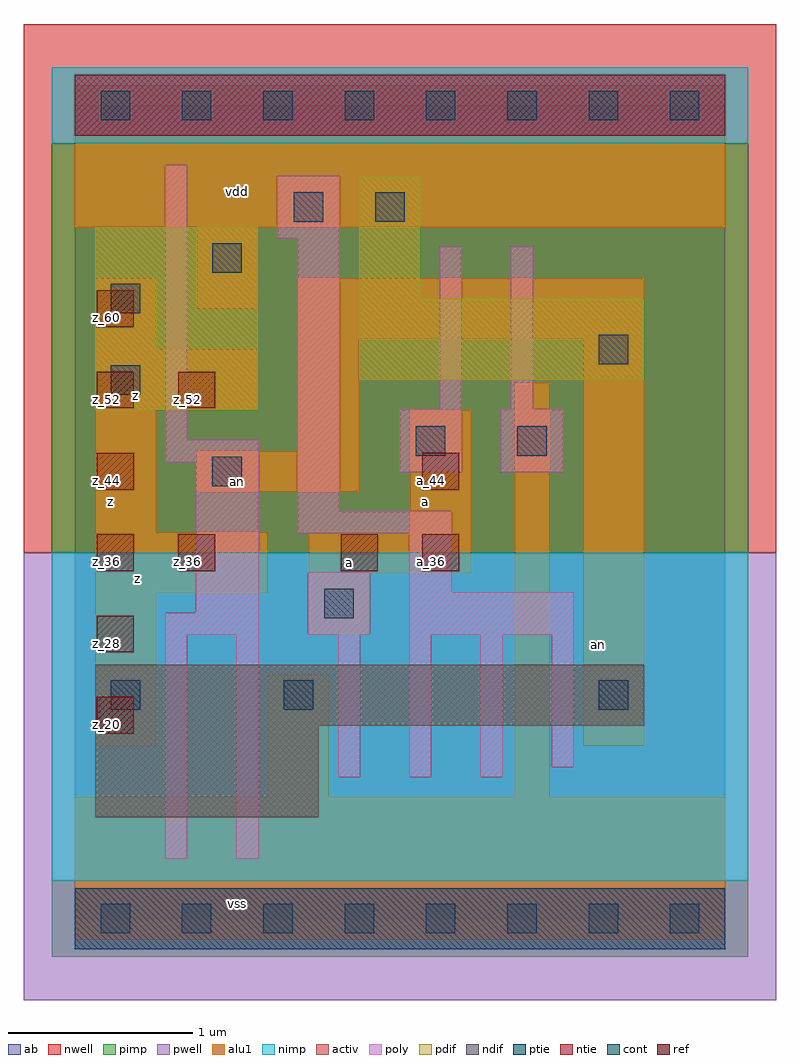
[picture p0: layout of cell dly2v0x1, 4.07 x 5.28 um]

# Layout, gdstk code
import gdstk
lib = gdstk.Library(unit=1e-6, precision=2.5e-09)
def R(c, l, rs):  # rectangles x0, y0, x1, y1
    for r in rs: c.add(gdstk.rectangle(r[:2], r[2:], *l))
def A(c, l, x, y, w, h, nx, ny, dx, dy):  # array of equal rectangles
    R(c, l, [(x+i*dx, y+j*dy, x+i*dx+w, y+j*dy+h) for i in range(nx) for j in range(ny)])
ndif = (3, 0)
pdif = (4, 0)
ntie = (5, 0)
ptie = (6, 0)
ref = (24, 0)
cont = (25, 0)
pwell = (41, 0)
nwell = (42, 0)
activ = (43, 0)
pimp = (44, 0)
nimp = (45, 0)
poly = (46, 0)
alu1 = (49, 0)
ab = (63, 0)

dly2v0x1 = lib.new_cell('dly2v0x1')
R(dly2v0x1, ndif, [(0.11,0.55,1.32,1.045), (0.11,1.045,3.08,1.375)])
R(dly2v0x1, pdif, [(0.11,2.75,0.99,3.74), (1.54,2.915,3.08,3.355), (1.54,3.355,1.87,4.015)])
R(dly2v0x1, ntie, [(0,4.235,3.52,4.565)])
R(dly2v0x1, ptie, [(0,-0.165,3.52,0.165)])
A(dly2v0x1, ref, 0.12, 1, 0.2, 0.2, 1, 6, 0, 0.44)
R(dly2v0x1, ref, [(0.56,1.88,0.76,2.08), (1.44,1.88,1.64,2.08), (1.88,1.88,2.08,2.08), (1.88,2.32,2.08,2.52), (0.56,2.76,0.76,2.96)])
A(dly2v0x1, cont, 0.14, -0.08, 0.16, 0.16, 8, 2, 0.44, 4.4)
R(dly2v0x1, cont, [(0.195,1.13,0.355,1.29), (1.13,1.13,1.29,1.29), (2.835,1.13,2.995,1.29), (1.35,1.625,1.51,1.785), (0.745,2.34,0.905,2.5), (1.845,2.505,2.005,2.665), (2.395,2.505,2.555,2.665), (0.195,2.835,0.355,2.995), (2.835,3,2.995,3.16), (0.195,3.275,0.355,3.435), (0.745,3.495,0.905,3.655), (1.185,3.77,1.345,3.93), (1.625,3.77,1.785,3.93)])
R(dly2v0x1, pwell, [(-0.275,-0.44,3.795,1.98)])
R(dly2v0x1, nwell, [(-0.275,1.98,3.795,4.84)])
R(dly2v0x1, activ, [(0,-0.165,3.52,0.165), (0.11,0.55,1.32,1.045), (0.11,1.045,3.08,1.375), (0.11,2.75,0.99,3.74), (1.54,2.915,3.08,3.355), (1.54,3.355,1.87,4.015), (0,4.235,3.52,4.565)])
R(dly2v0x1, pimp, [(-0.125,-0.205,3.645,0.205), (-0.125,1.98,3.645,4.195)])
R(dly2v0x1, nimp, [(-0.125,0.205,3.645,1.98), (-0.125,4.195,3.645,4.605)])
A(dly2v0x1, poly, 1.425, 0.765, 0.12, 0.77, 3, 1, 0.385, 0)
R(dly2v0x1, poly, [(0.49,0.325,0.61,1.535), (0.875,0.325,0.995,1.535), (2.58,0.82,2.7,1.535), (0.49,1.535,0.995,1.655), (1.26,1.535,1.6,1.875), (1.81,1.535,2.7,1.765), (0.655,1.655,0.995,2.47), (1.81,1.765,2.04,2.085), (1.205,2.085,2.04,2.205), (1.205,2.205,1.435,3.68), (1.755,2.415,2.095,2.755), (2.305,2.415,2.645,2.755), (0.49,2.47,0.995,2.59), (0.49,2.59,0.61,4.075), (1.975,2.755,2.095,3.635), (2.36,2.755,2.48,3.635), (1.095,3.68,1.435,4.02)])
R(dly2v0x1, alu1, [(0,-0.11,3.52,0.66), (1.045,0.66,1.375,1.32), (2.38,0.66,2.57,2.9), (0.11,0.935,0.44,1.76), (2.75,0.935,3.08,3.135), (1.265,1.54,1.595,1.87), (0.11,1.76,1.045,2.09), (1.265,1.87,2.145,2.09), (0.11,2.09,0.44,2.75), (1.815,2.09,2.145,2.75), (0.66,2.31,1.54,2.53), (1.21,2.53,1.54,3.135), (0.11,2.75,0.99,3.08), (0.11,3.08,0.44,3.465), (1.21,3.135,3.08,3.465), (0.66,3.3,0.99,3.74), (0,3.74,3.52,4.51)])
R(dly2v0x1, ab, [(0,0,3.52,4.4)])
dly2v0x1.add(gdstk.Label('vss', (0.88,0.0825), layer=49, texttype=0))
dly2v0x1.add(gdstk.Label('an', (2.8325,1.485), layer=49, texttype=0))
dly2v0x1.add(gdstk.Label('a', (1.485,1.925), layer=49, texttype=0))
dly2v0x1.add(gdstk.Label('z', (0.3425,1.8425), layer=49, texttype=0))
dly2v0x1.add(gdstk.Label('a', (1.8975,2.255), layer=49, texttype=0))
dly2v0x1.add(gdstk.Label('an', (0.88,2.365), layer=49, texttype=0))
dly2v0x1.add(gdstk.Label('z', (0.1925,2.255), layer=49, texttype=0))
dly2v0x1.add(gdstk.Label('z', (0.33,2.8325), layer=49, texttype=0))
dly2v0x1.add(gdstk.Label('vdd', (0.88,3.9325), layer=49, texttype=0))
dly2v0x1.add(gdstk.Label('z_36', (0.61,1.93), layer=24, texttype=0))
dly2v0x1.add(gdstk.Label('z_52', (0.61,2.81), layer=24, texttype=0))
dly2v0x1.add(gdstk.Label('a_36', (1.49,1.93), layer=24, texttype=0))
dly2v0x1.add(gdstk.Label('a_36', (1.93,1.93), layer=24, texttype=0))
dly2v0x1.add(gdstk.Label('a_44', (1.93,2.37), layer=24, texttype=0))
dly2v0x1.add(gdstk.Label('z_20', (0.17,1.05), layer=24, texttype=0))
dly2v0x1.add(gdstk.Label('z_28', (0.17,1.49), layer=24, texttype=0))
dly2v0x1.add(gdstk.Label('z_36', (0.17,1.93), layer=24, texttype=0))
dly2v0x1.add(gdstk.Label('z_44', (0.17,2.37), layer=24, texttype=0))
dly2v0x1.add(gdstk.Label('z_52', (0.17,2.81), layer=24, texttype=0))
dly2v0x1.add(gdstk.Label('z_60', (0.17,3.25), layer=24, texttype=0))

lib.write_gds('dly2v0x1.gds')
